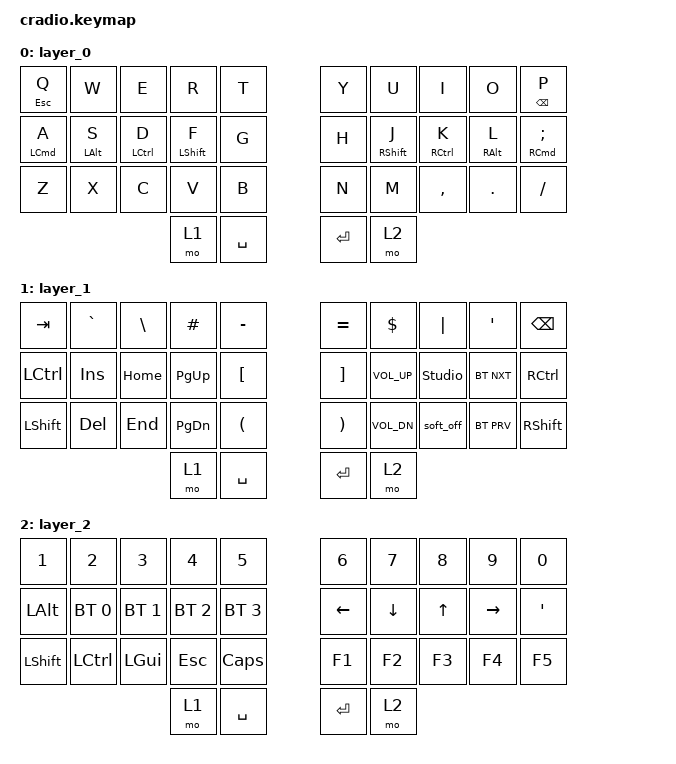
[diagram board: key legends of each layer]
#include <behaviors.dtsi>
#include <dt-bindings/zmk/bt.h>
#include <dt-bindings/zmk/keys.h>

/ {
    keymap {
        compatible = "zmk,keymap";

        layer_0 {
            bindings = <
&mt ESCAPE Q        &kp W           &kp E               &kp R             &kp T        &kp Y      &kp U              &kp I                &kp O            &mt BACKSPACE P
&mt LEFT_COMMAND A  &mt LEFT_ALT S  &mt LEFT_CONTROL D  &mt LEFT_SHIFT F  &kp G        &kp H      &mt RIGHT_SHIFT J  &mt RIGHT_CONTROL K  &mt RIGHT_ALT L  &mt RCMD SEMICOLON
&kp Z               &kp X           &kp C               &kp V             &kp B        &kp N      &kp M              &kp COMMA            &kp DOT          &kp FSLH
                                                        &mo 1             &kp SPACE    &kp ENTER  &mo 2
            >;
        };

        layer_1 {
            bindings = <
&kp TAB    &kp GRAVE   &kp BACKSLASH  &kp HASH       &kp MINUS               &kp EQUAL              &kp DOLLAR       &kp PIPE        &kp SINGLE_QUOTE  &kp BACKSPACE
&kp LCTRL  &kp INSERT  &kp HOME       &kp PAGE_UP    &kp LBKT                &kp RBKT               &kp C_VOLUME_UP  &studio_unlock  &bt BT_NXT        &kp RCTRL
&kp LSHFT  &kp DELETE  &kp END        &kp PAGE_DOWN  &kp LEFT_PARENTHESIS    &kp RIGHT_PARENTHESIS  &kp C_VOL_DN     &soft_off       &bt BT_PRV        &kp RSHFT
                                      &mo 1          &kp SPACE               &kp ENTER              &mo 2
            >;
        };

        layer_2 {
            bindings = <
&kp N1     &kp N2        &kp N3        &kp N4        &kp N5          &kp N6          &kp N7          &kp N8        &kp N9           &kp N0
&kp LALT   &bt BT_SEL 0  &bt BT_SEL 1  &bt BT_SEL 2  &bt BT_SEL 3    &kp LEFT_ARROW  &kp DOWN_ARROW  &kp UP_ARROW  &kp RIGHT_ARROW  &kp SINGLE_QUOTE
&kp LSHFT  &kp LCTRL     &kp LGUI      &kp ESCAPE    &kp CAPS        &kp F1          &kp F2          &kp F3        &kp F4           &kp F5
                                       &mo 1         &kp SPACE       &kp ENTER       &mo 2
            >;
        };
    };
};
